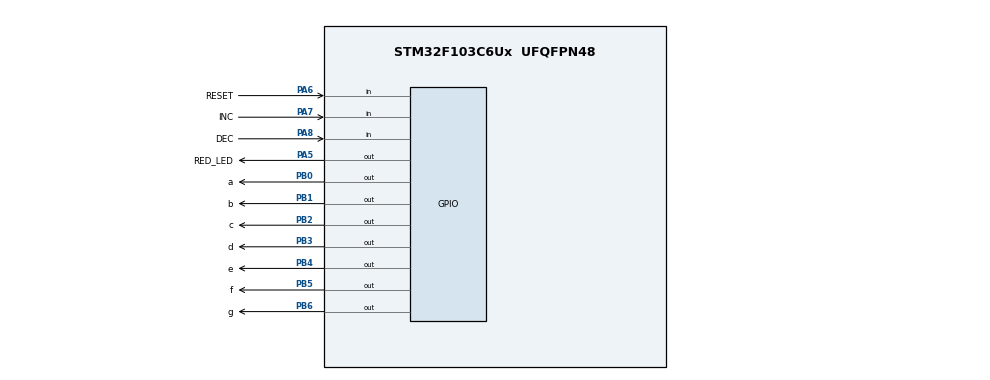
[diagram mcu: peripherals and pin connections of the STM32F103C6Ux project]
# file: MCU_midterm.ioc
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Mcu.Family=STM32F1
Mcu.Name=STM32F103C6Ux
Mcu.Package=UFQFPN48
NVIC.PriorityGroup=NVIC_PRIORITYGROUP_4
NVIC.TIM2_IRQn=true\:0\:0\:false\:false\:true\:true\:true
PA5.GPIO_Label=RED_LED
PA5.Signal=GPIO_Output
PA6.GPIO_Label=RESET
PA6.GPIO_PuPd=GPIO_PULLUP
PA6.Signal=GPIO_Input
PA7.GPIO_Label=INC
PA7.GPIO_PuPd=GPIO_PULLUP
PA7.Signal=GPIO_Input
PA8.GPIO_Label=DEC
PA8.GPIO_PuPd=GPIO_PULLUP
PA8.Signal=GPIO_Input
PB0.GPIO_Label=a
PB0.Signal=GPIO_Output
PB1.GPIO_Label=b
PB1.Signal=GPIO_Output
PB2.GPIO_Label=c
PB2.Signal=GPIO_Output
PB3.GPIO_Label=d
PB3.Signal=GPIO_Output
PB4.GPIO_Label=e
PB4.Signal=GPIO_Output
PB5.GPIO_Label=f
PB5.Signal=GPIO_Output
PB6.GPIO_Label=g
PB6.Signal=GPIO_Output
ProjectManager.HeapSize=0x200
ProjectManager.StackSize=0x400
ProjectManager.TargetToolchain=STM32CubeIDE
RCC.APB1Freq_Value=8000000
RCC.APB2Freq_Value=8000000
TIM2.Period=10
TIM2.Prescaler=7999
VP_SYS_VS_ND.Mode=No_Debug
VP_TIM2_VS_ClockSourceINT.Mode=Internal
board=custom

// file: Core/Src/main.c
/* USER CODE BEGIN Header */
/**
  ******************************************************************************
  * @file           : main.c
  * @brief          : Main program body
  ******************************************************************************
  * @attention
  *
  * <h2><center>&copy; Copyright (c) 2022 STMicroelectronics.
  * All rights reserved.</center></h2>
  *
  * This software component is licensed by ST under BSD 3-Clause license,
  * the "License"; You may not use this file except in compliance with the
  * License. You may obtain a copy of the License at:
  *                        opensource.org/licenses/BSD-3-Clause
  *
  ******************************************************************************
  */
/* USER CODE END Header */
#include "main.h"

/* USER CODE BEGIN Includes */
#include "global.h"
#include "button.h"
#include "software_timer.h"
#include "fsm_simple_buttons.h"
#include "led_display.h"
/* USER CODE END Includes */

TIM_HandleTypeDef htim2;

void SystemClock_Config(void);
static void MX_GPIO_Init(void);
static void MX_TIM2_Init(void);

int main(void)
{

  /* MCU Configuration--------------------------------------------------------*/

  /* Reset of all peripherals, Initializes the Flash interface and the Systick. */
  HAL_Init();

  /* Configure the system clock */
  SystemClock_Config();

  /* Initialize all configured peripherals */
  MX_GPIO_Init();
  MX_TIM2_Init();
  /* USER CODE BEGIN 2 */
  HAL_TIM_Base_Start_IT(&htim2);

  /* USER CODE END 2 */

  /* Infinite loop */
  /* USER CODE BEGIN WHILE */
  HAL_GPIO_WritePin(RED_LED_GPIO_Port, RED_LED_Pin, GPIO_PIN_SET);
  // measure whether it is time out mode or normal mode
  int isTimeOut = 0;
  // used to save the state before switching to time out mode
  int saved_state = 0;
  while (1)
  {
    /* USER CODE END WHILE */

    /* USER CODE BEGIN 3 */
	  // led blinky for debugging
	  displayRedLed();
	  // state machine between 2 modes
	  switch(isTimeOut)
	  {
	  case 0:
		  // execute simple button fsm
	  	  fsm_simple_buttons_run();
	  	  // check whether it is idle for 9 sec
	  	  if(timer1_flag == 1)
	  	  {
	  		  timer1_flag = 0;
	  		  set_timer1(1000);
	  		  // save the state before swtiching
	  		  saved_state = state;
	  		  // switch the mode
	  		  isTimeOut = 1;
	  	  }
	  	  break;
	  case 1:
		  // execute time out mode
	  	  time_out_10s();
	  	  // check whether the 2 buttons is pressed
	  	  if(buttonInc_flag == 1 || buttonDec_flag == 1)
	  	  {
	  		  buttonInc_flag = 0;
	  		  buttonDec_flag = 0;
	  		  // return the state to the saved one
	  		  state = saved_state;
	  		  isTimeOut = 0;
	  		  set_timer1(9000);
	  	  }
	  	  break;
	  default:
		  isTimeOut = 0;
		  break;
	  }
	  // display the state on the 7 segments LED
	  display7SEG(state);
  }
  /* USER CODE END 3 */
}

void SystemClock_Config(void)
{
  RCC_OscInitTypeDef RCC_OscInitStruct = {0};
  RCC_ClkInitTypeDef RCC_ClkInitStruct = {0};

  /** Initializes the RCC Oscillators according to the specified parameters
  * in the RCC_OscInitTypeDef structure.
  */
  RCC_OscInitStruct.OscillatorType = RCC_OSCILLATORTYPE_HSI;
  RCC_OscInitStruct.HSIState = RCC_HSI_ON;
  RCC_OscInitStruct.HSICalibrationValue = RCC_HSICALIBRATION_DEFAULT;
  RCC_OscInitStruct.PLL.PLLState = RCC_PLL_NONE;
  if (HAL_RCC_OscConfig(&RCC_OscInitStruct) != HAL_OK)
  {
    Error_Handler();
  }
  /** Initializes the CPU, AHB and APB buses clocks
  */
  RCC_ClkInitStruct.ClockType = RCC_CLOCKTYPE_HCLK|RCC_CLOCKTYPE_SYSCLK
                              |RCC_CLOCKTYPE_PCLK1|RCC_CLOCKTYPE_PCLK2;
  RCC_ClkInitStruct.SYSCLKSource = RCC_SYSCLKSOURCE_HSI;
  RCC_ClkInitStruct.AHBCLKDivider = RCC_SYSCLK_DIV1;
  RCC_ClkInitStruct.APB1CLKDivider = RCC_HCLK_DIV1;
  RCC_ClkInitStruct.APB2CLKDivider = RCC_HCLK_DIV1;

  if (HAL_RCC_ClockConfig(&RCC_ClkInitStruct, FLASH_LATENCY_0) != HAL_OK)
  {
    Error_Handler();
  }
}

static void MX_TIM2_Init(void)
{

  TIM_ClockConfigTypeDef sClockSourceConfig = {0};
  TIM_MasterConfigTypeDef sMasterConfig = {0};

  htim2.Instance = TIM2;
  htim2.Init.Prescaler = 7999;
  htim2.Init.CounterMode = TIM_COUNTERMODE_UP;
  htim2.Init.Period = 10;
  htim2.Init.ClockDivision = TIM_CLOCKDIVISION_DIV1;
  htim2.Init.AutoReloadPreload = TIM_AUTORELOAD_PRELOAD_DISABLE;
  if (HAL_TIM_Base_Init(&htim2) != HAL_OK)
  {
    Error_Handler();
  }
  sClockSourceConfig.ClockSource = TIM_CLOCKSOURCE_INTERNAL;
  if (HAL_TIM_ConfigClockSource(&htim2, &sClockSourceConfig) != HAL_OK)
  {
    Error_Handler();
  }
  sMasterConfig.MasterOutputTrigger = TIM_TRGO_RESET;
  sMasterConfig.MasterSlaveMode = TIM_MASTERSLAVEMODE_DISABLE;
  if (HAL_TIMEx_MasterConfigSynchronization(&htim2, &sMasterConfig) != HAL_OK)
  {
    Error_Handler();
  }

}

static void MX_GPIO_Init(void)
{
  GPIO_InitTypeDef GPIO_InitStruct = {0};

  /* GPIO Ports Clock Enable */
  __HAL_RCC_GPIOA_CLK_ENABLE();
  __HAL_RCC_GPIOB_CLK_ENABLE();

  /*Configure GPIO pin Output Level */
  HAL_GPIO_WritePin(RED_LED_GPIO_Port, RED_LED_Pin, GPIO_PIN_RESET);

  /*Configure GPIO pin Output Level */
  HAL_GPIO_WritePin(GPIOB, a_Pin|b_Pin|c_Pin|d_Pin
                          |e_Pin|f_Pin|g_Pin, GPIO_PIN_RESET);

  /*Configure GPIO pin : RED_LED_Pin */
  GPIO_InitStruct.Pin = RED_LED_Pin;
  GPIO_InitStruct.Mode = GPIO_MODE_OUTPUT_PP;
  GPIO_InitStruct.Pull = GPIO_NOPULL;
  GPIO_InitStruct.Speed = GPIO_SPEED_FREQ_LOW;
  HAL_GPIO_Init(RED_LED_GPIO_Port, &GPIO_InitStruct);

  /*Configure GPIO pins : RESET_Pin INC_Pin DEC_Pin */
  GPIO_InitStruct.Pin = RESET_Pin|INC_Pin|DEC_Pin;
  GPIO_InitStruct.Mode = GPIO_MODE_INPUT;
  GPIO_InitStruct.Pull = GPIO_PULLUP;
  HAL_GPIO_Init(GPIOA, &GPIO_InitStruct);

  /*Configure GPIO pins : a_Pin b_Pin c_Pin d_Pin
                           e_Pin f_Pin g_Pin */
  GPIO_InitStruct.Pin = a_Pin|b_Pin|c_Pin|d_Pin
                          |e_Pin|f_Pin|g_Pin;
  GPIO_InitStruct.Mode = GPIO_MODE_OUTPUT_PP;
  GPIO_InitStruct.Pull = GPIO_NOPULL;
  GPIO_InitStruct.Speed = GPIO_SPEED_FREQ_LOW;
  HAL_GPIO_Init(GPIOB, &GPIO_InitStruct);

}

/* USER CODE BEGIN 4 */
void HAL_TIM_PeriodElapsedCallback(TIM_HandleTypeDef * htim)
{
	timer_run();
	getKeyInputReset();
	getKeyInputInc();
	getKeyInputDec();
}
/* USER CODE END 4 */

void Error_Handler(void)
{
  __disable_irq();
  while (1)
  {
  }
}

/************************ (C) COPYRIGHT STMicroelectronics *****END OF FILE****/
